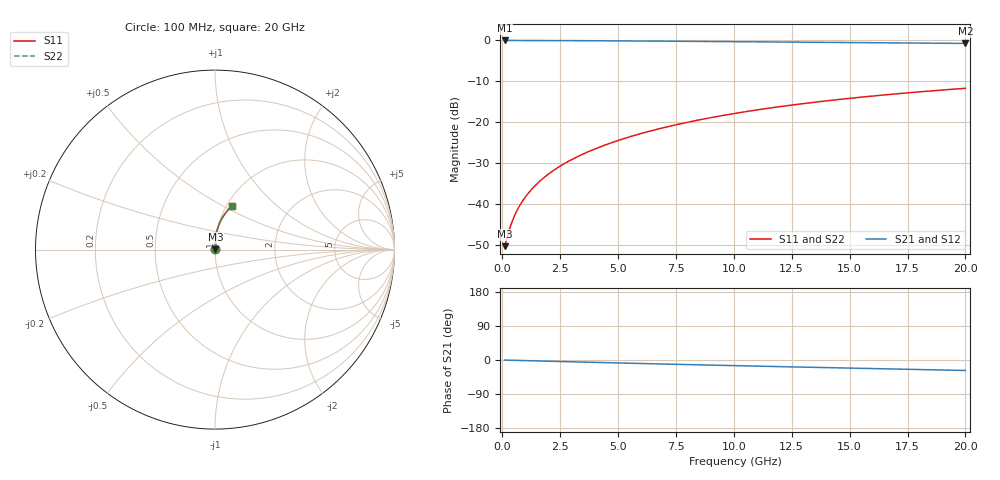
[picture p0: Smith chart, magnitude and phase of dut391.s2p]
! Touchstone file exported from HFSS 2024.1.0
!  File:  C:/UserFiles/LocalFiles/RDL_TSV_Batchsim/temp_RDL_top_391_1779609828.aedt
!  Generated:  04:06:35 PM May 24, 2026
!  Design:  RDL_top
!  Project:  temp_RDL_top_391_1779609828
!  Setup:  Setup1
!  Solution:  Sweep
! Variables:
!  dtsv = 10.80580581um
!  hbump = 3um
!  htsv = 61.84um
!  ldown = 100um
!  lrdl = 392um
!  p = 40
!  p1 = 42.32um
!  rhole = 1um
!  t = 450um
!  tdown = 3.915915916um
!  trdl = 2.56um
!  wdown = 15.38538539um
!  wrdl = 21.85um
# GHz S MA R 50.000000
! Terminal data exported
! Port[1] = Box2_T1
! Port[2] = Box2_T2
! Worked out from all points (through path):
!   200 points, 100 MHz to 20 GHz, reference 50 ohm
!   highest |S21| = -0.02 dB at 100 MHz (marker M1); lowest = -0.8 dB at 20 GHz (marker M2)
!   group delay of S21, straight-line fit = 3.8 ps
!   lowest |S11| = -50.3 dB at 100 MHz (marker M3), VSWR 1.01, Z = 50.3 + j0.131 ohm
!   |S11| at or under -10 dB: start of sweep to end of sweep
!   |S22| runs from -50.3 to -11.7 dB; largest |S21 - S12| = 4.2e-15
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0.1  0.003065 25.2  0.9972 -0.2  0.9972 -0.2  0.003065 25.2
! Gamma 0 0 0 0
! Port Impedance 50 0 50 0
0.3  0.00483 52.1  0.997 -0.5  0.997 -0.5  0.00483 52.1
0.4  0.005872 58.4  0.9968 -0.7  0.9968 -0.7  0.005872 58.4
0.6  0.007988 65.8  0.9965 -1.0  0.9965 -1.0  0.007988 65.8
0.7  0.009048 68.3  0.9964 -1.1  0.9964 -1.1  0.009048 68.3
0.9  0.01118 72.1  0.9961 -1.5  0.9961 -1.5  0.01118 72.1
1.2  0.01442 75.9  0.9957 -1.9  0.9957 -1.9  0.01442 75.9
1.4  0.01662 77.7  0.9954 -2.3  0.9954 -2.3  0.01662 77.7
1.7  0.01996 79.8  0.9949 -2.7  0.9949 -2.7  0.01996 79.8
2.2  0.02565 82.1  0.994 -3.5  0.994 -3.5  0.02565 82.1
2.8  0.03264 83.8  0.9926 -4.5  0.9926 -4.5  0.03264 83.8
3.5  0.04104 84.9  0.9907 -5.5  0.9907 -5.5  0.04104 84.9
4.2  0.04968 85.5  0.9884 -6.6  0.9884 -6.6  0.04968 85.6
5  0.05983 85.8  0.9856 -7.8  0.9856 -7.8  0.05983 85.8
5.9  0.07156 85.7  0.982 -9.1  0.982 -9.1  0.07157 85.7
6.8  0.08358 85.2  0.9783 -10.4  0.9783 -10.4  0.08358 85.2
8.4  0.1054 83.9  0.9712 -12.7  0.9712 -12.7  0.1054 83.9
10.1  0.1289 82.1  0.9635 -15.0  0.9635 -15.0  0.1289 82.1
11.7  0.1511 80.1  0.9561 -17.1  0.9561 -17.1  0.1511 80.1
13.4  0.1743 77.8  0.9482 -19.4  0.9482 -19.4  0.1744 77.8
16.7  0.2182 73.3  0.9327 -23.6  0.9327 -23.6  0.2182 73.3
20  0.2596 68.8  0.917 -27.6  0.917 -27.6  0.2597 68.8
